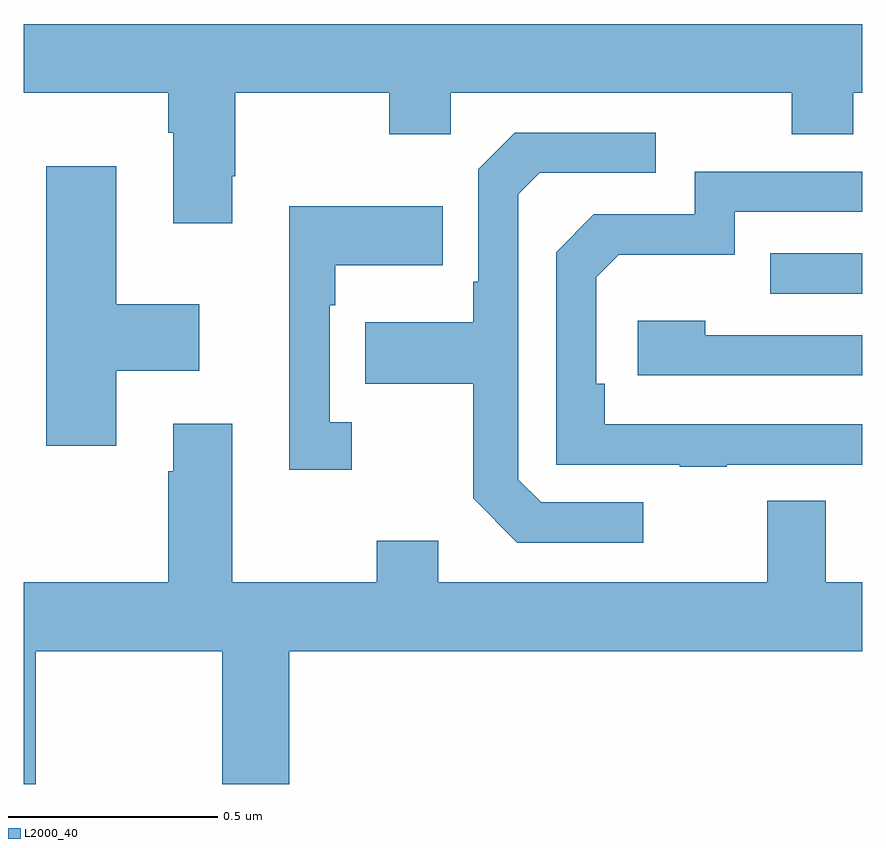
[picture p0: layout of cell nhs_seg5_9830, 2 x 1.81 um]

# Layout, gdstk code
import gdstk
lib = gdstk.Library(unit=1e-6, precision=1e-09)
def R(c, l, rs):  # rectangles x0, y0, x1, y1
    for r in rs: c.add(gdstk.rectangle(r[:2], r[2:], *l))
def P(c, l, *ps):  # polygons
    for p in ps: c.add(gdstk.Polygon(p, *l))
L2000_40 = (2000, 40)

nhs_seg5_9830 = lib.new_cell('nhs_seg5_9830')
R(nhs_seg5_9830, L2000_40, [(240.781,834.969,241,835.065)])
P(nhs_seg5_9830, L2000_40, [(239.497,835.249),(239.505,835.249),(239.505,835.448),(239.872,835.448),(239.872,835.349),(240.018,835.349),(240.018,835.448),(240.832,835.448),(240.832,835.349),(240.979,835.349),(240.979,835.448),(241,835.448),(241,835.612),(239,835.612),(239,835.448),(239.345,835.448),(239.345,835.352),(239.357,835.352),(239.357,835.137),(239.497,835.137)],
  [(240.478,834.471),(240.234,834.471),(240.18,834.525),(240.18,835.206),(240.231,835.257),(240.508,835.257),(240.508,835.353),(240.171,835.353),(240.084,835.266),(240.084,834.997),(240.072,834.997),(240.072,834.901),(239.815,834.901),(239.815,834.754),(240.072,834.754),(240.072,834.481),(240.177,834.375),(240.478,834.375)],
  [(239.221,834.785),(239.419,834.785),(239.419,834.943),(239.221,834.943),(239.221,835.273),(239.054,835.273),(239.054,834.606),(239.221,834.606)],
  [(240.677,834.561),(241,834.561),(241,834.657),(240.386,834.657),(240.386,834.754),(240.366,834.754),(240.366,835.008),(240.419,835.061),(240.696,835.061),(240.696,835.164),(241,835.164),(241,835.26),(240.6,835.26),(240.6,835.158),(240.36,835.158),(240.27,835.068),(240.27,834.561),(240.565,834.561),(240.565,834.556),(240.677,834.556)],
  [(239.782,834.662),(239.73,834.662),(239.73,834.941),(239.743,834.941),(239.743,835.037),(239.999,835.037),(239.999,835.177),(239.633,835.177),(239.633,834.549),(239.782,834.549)],
  [(241,834.87),(240.626,834.87),(240.626,834.904),(240.465,834.904),(240.465,834.774),(241,834.774)],
  [(239.028,834.116),(239.473,834.116),(239.473,833.799),(239.633,833.799),(239.633,834.116),(241,834.116),(241,834.28),(240.913,834.28),(240.913,834.475),(240.773,834.475),(240.773,834.28),(239.989,834.28),(239.989,834.379),(239.842,834.379),(239.842,834.28),(239.497,834.28),(239.497,834.658),(239.357,834.658),(239.357,834.545),(239.345,834.545),(239.345,834.28),(239,834.28),(239,833.799),(239.028,833.799)])

lib.write_gds('nhs_seg5_9830.gds')
